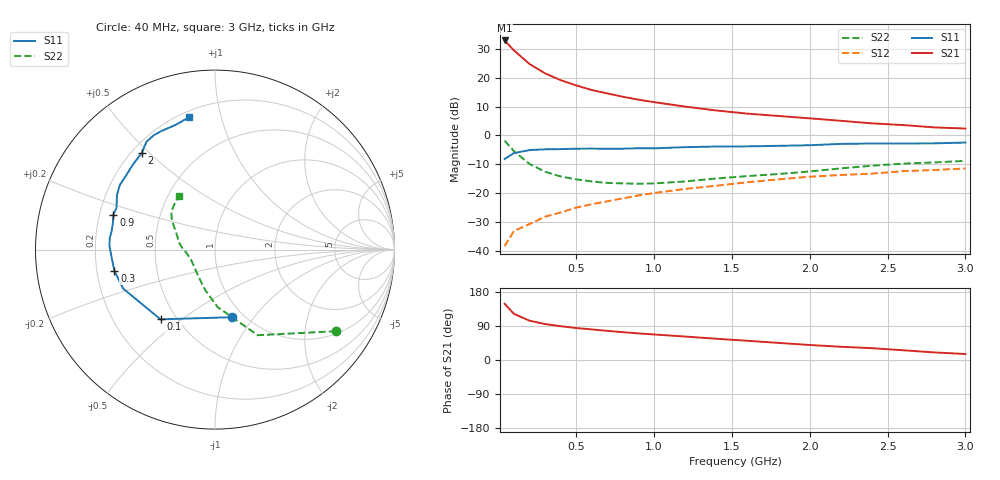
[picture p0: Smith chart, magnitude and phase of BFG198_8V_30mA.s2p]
! Filename:  BFG198H.S2P  Version:  2.0
! Philips part #: BFG198  Date: Jul 1990
! Bias condition: Vce=8V, Ic=30mA
#  MHz  S  MA  R  50
! Freq  S11  S21  S12  S22  !GUM [dB]
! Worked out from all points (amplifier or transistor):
!   21 points, 40 MHz to 3 GHz, reference 50 ohm
!   highest |S21| = 32.9 dB at 40 MHz (marker M1)
!   |S21| within 3 dB of that: start of sweep to 92.08 MHz
!   unconditionally stable (mu >= 1): 532.4 MHz to 2.172 GHz; 2.256 GHz to 2.89 GHz
!   at 300 MHz: K = 0.86, MSG = 24.8 dB, |S12| = -28.2 dB
!   at 1 GHz: K = 1.09, MAG = 13.9 dB, |S12| = -20.0 dB
!   at 3 GHz: K = 0.97, MSG = 6.9 dB, |S12| = -11.5 dB
!   S11 on the Smith chart (normalised r, x): 40 MHz: 0.89, -0.79; 100 MHz: 0.41, -0.42; 300 MHz: 0.27, -0.10; 900 MHz: 0.26, +0.16; 2 GHz: 0.24, +0.47; 3 GHz: 0.24, +0.80
40  0.389 -75.5  44.25 148.4  0.012 73.8  0.813 -34.0
100  0.493 -128.0  29.72 121.8  0.022 57.7  0.533 -63.5
200  0.556 -157.0  17.3 103.7  0.029 56.0  0.32 -87.5
300  0.573 -168.0  11.9 94.9  0.039 59.2  0.234 -103.0
400  0.578 -176.0  9.069 89.2  0.046 63.6  0.194 -114.0
500  0.588 178.1  7.344 84.4  0.056 64.7  0.173 -123.0
600  0.59 173.9  6.121 80.7  0.064 66.0  0.159 -132.0
700  0.585 169.5  5.333 76.9  0.072 66.3  0.15 -140.0
800  0.588 165.2  4.675 73.4  0.081 67.0  0.147 -147.0
900  0.599 161.0  4.158 70.2  0.091 67.4  0.145 -155.0
1000  0.596 157.0  3.771 67.4  0.1 67.3  0.147 -161.0
1200  0.625 150.9  3.153 61.9  0.118 66.1  0.159 -173.0
1400  0.641 145.8  2.703 56.1  0.134 65.0  0.179 178.6
1600  0.645 140.1  2.383 50.7  0.154 64.6  0.197 171.6
1800  0.659 133.9  2.169 45.1  0.173 60.5  0.214 164.1
2000  0.675 127.3  1.973 39.6  0.192 59.2  0.237 156.0
2200  0.712 122.4  1.79 34.9  0.206 56.7  0.268 149.6
2400  0.723 118.1  1.615 31.2  0.217 56.0  0.298 144.1
2600  0.725 114.4  1.511 25.7  0.24 52.4  0.324 138.6
2800  0.728 107.9  1.375 20.0  0.251 47.9  0.34 131.4
3000  0.751 101.1  1.314 15.8  0.267 46.5  0.361 123.9
